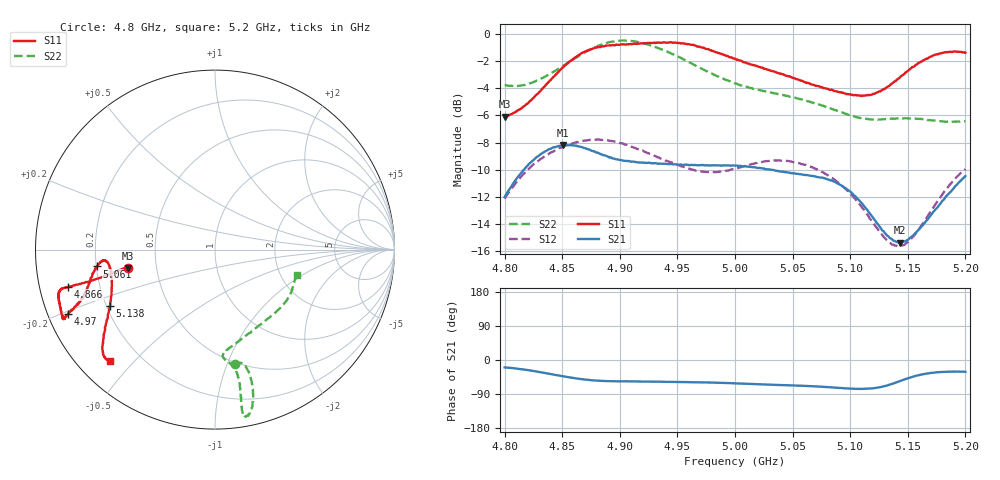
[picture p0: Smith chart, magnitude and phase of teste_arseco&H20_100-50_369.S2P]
! Network Analyzer HP8722D
! Hewlett-Packard
! Data name: Linha & Wilkinson
! Saver's name: Rodrigo Anjos
! Comments: Teste da utilização de aquisição
! continua pelo VNA HP8722D
! Time and date: 6/5/2025 15:38
!  Frequency  S11  S21  S12  S22
# HZ  S  MA R 50
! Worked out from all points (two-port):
!   401 points, 4.8 GHz to 5.2 GHz, reference 50 ohm
!   highest |S21| = -8.16 dB at 4.851 GHz (marker M1); lowest = -15.3 dB at 5.143 GHz (marker M2)
!   |S21| within 3 dB of the highest: 4.806 GHz to 5.093 GHz (286.3 MHz wide, 5.79 % of centre); 5.1917 GHz to end of sweep
!   lowest |S11| = -6.1 dB at 4.8 GHz (marker M3), VSWR 2.97, Z = 17 - j4.6 ohm
!   |S11| at or under -10 dB: nowhere
!   |S22| runs from -6.5 to -0.5 dB; largest |S21 - S12| = 0.62
!   S11 on the Smith chart (normalised r, x): 4.8 GHz: 0.34, -0.09; 4.866 GHz: 0.09, -0.12; 4.97 GHz: 0.06, -0.21; 5.061 GHz: 0.20, -0.07; 5.138 GHz: 0.21, -0.24; 5.2 GHz: 0.09, -0.43
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4.8e9  0.4962 -168.1  0.2513 -19.6  0.2478 -140.8  0.6481 -80.3
4.823e9  0.5698 -167.4  0.3376 -27.9  0.3247 -143.6  0.6595 -76.0
4.851e9  0.7553 -165.7  0.3906 -43.1  0.3844 -149.1  0.7642 -74.4
4.866e9  0.8448 -165.8  0.3842 -50.1  0.4019 -151.7  0.8366 -75.3
4.867e9  0.8507 -165.6  0.3836 -50.6  0.403 -151.8  0.8425 -75.4
4.898e9  0.912 -162.8  0.3456 -56.2  0.3985 -156.3  0.9427 -78.8
4.914e9  0.9197 -159.5  0.3377 -56.3  0.3792 -157.0  0.9381 -80.2
4.934e9  0.929 -156.3  0.3334 -57.3  0.3515 -155.6  0.884 -80.4
4.97e9  0.8939 -156.3  0.3295 -59.0  0.3126 -146.9  0.7485 -79.6
5e9  0.8094 -159.0  0.3278 -61.7  0.3196 -137.1  0.6574 -81.1
5.036e9  0.7211 -165.5  0.3136 -65.8  0.3422 -134.4  0.603 -85.6
5.061e9  0.6639 -171.9  0.3031 -68.3  0.3305 -136.2  0.5698 -83.9
5.067e9  0.6512 -173.0  0.3007 -69.0  0.3234 -136.6  0.5591 -82.6
5.084e9  0.6237 -174.6  0.2896 -72.3  0.2957 -138.2  0.5297 -76.4
5.101e9  0.5984 -172.0  0.2612 -75.6  0.256 -138.7  0.5025 -66.5
5.116e9  0.5963 -165.4  0.2213 -75.8  0.2131 -135.5  0.4857 -55.8
5.134e9  0.6446 -154.2  0.1783 -65.1  0.1708 -120.8  0.4867 -43.2
5.138e9  0.6657 -151.8  0.1734 -61.3  0.1674 -115.7  0.4875 -40.9
5.143e9  0.6903 -149.3  0.1709 -55.9  0.1658 -109.1  0.4883 -38.0
5.154e9  0.7549 -144.3  0.1808 -44.5  0.1787 -95.2  0.4884 -32.4
5.173e9  0.8354 -138.8  0.2235 -33.1  0.2327 -80.7  0.4807 -24.3
5.2e9  0.8523 -133.5  0.3001 -31.2  0.3185 -76.7  0.4773 -17.5
